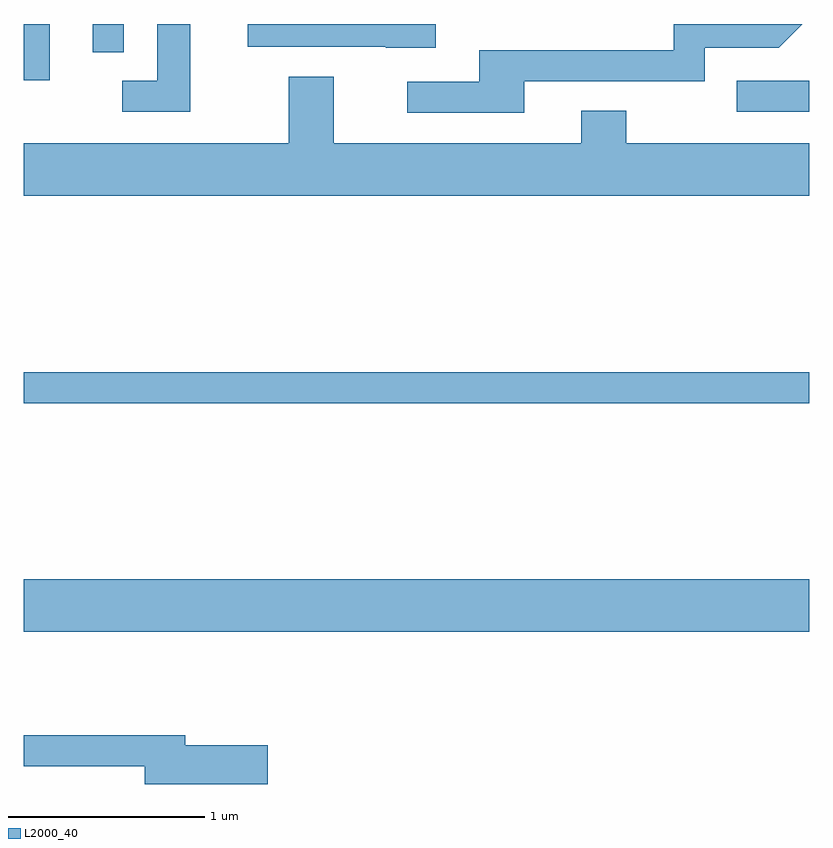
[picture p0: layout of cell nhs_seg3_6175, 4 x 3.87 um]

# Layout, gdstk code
import gdstk
lib = gdstk.Library(unit=1e-6, precision=1e-09)
def R(c, l, rs):  # rectangles x0, y0, x1, y1
    for r in rs: c.add(gdstk.rectangle(r[:2], r[2:], *l))
def P(c, l, *ps):  # polygons
    for p in ps: c.add(gdstk.Polygon(p, *l))
L2000_40 = (2000, 40)

nhs_seg3_6175 = lib.new_cell('nhs_seg3_6175')
R(nhs_seg3_6175, L2000_40, [(365.611,1234.796,369.611,1235.064), (365.611,1235.961,369.611,1236.119), (369.243,1237.446,369.611,1237.604), (365.611,1237.606,365.744,1237.892), (365.961,1237.748,366.119,1237.892)])
P(nhs_seg3_6175, L2000_40, [(367.709,1237.892),(366.751,1237.892),(366.751,1237.776),(367.455,1237.776),(367.455,1237.771),(367.709,1237.771)],
  [(368.159,1237.601),(369.079,1237.601),(369.079,1237.771),(369.457,1237.771),(369.577,1237.892),(368.921,1237.892),(368.921,1237.759),(367.931,1237.759),(367.931,1237.599),(367.563,1237.599),(367.563,1237.441),(368.159,1237.441)],
  [(366.459,1237.892),(366.291,1237.892),(366.291,1237.604),(366.113,1237.604),(366.113,1237.446),(366.459,1237.446)],
  [(369.611,1237.284),(368.679,1237.284),(368.679,1237.449),(368.451,1237.449),(368.451,1237.284),(367.189,1237.284),(367.189,1237.624),(366.961,1237.624),(366.961,1237.284),(365.611,1237.284),(365.611,1237.016),(369.611,1237.016)],
  [(366.854,1234.219),(366.434,1234.219),(366.434,1234.269),(365.611,1234.269),(365.611,1234.111),(366.226,1234.111),(366.226,1234.021),(366.854,1234.021)])

lib.write_gds('nhs_seg3_6175.gds')
